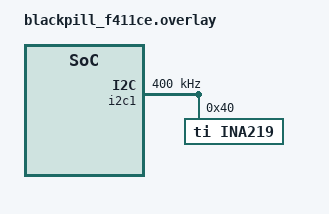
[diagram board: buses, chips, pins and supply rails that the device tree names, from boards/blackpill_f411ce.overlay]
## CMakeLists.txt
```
# SPDX-License-Identifier: Apache-2.0

cmake_minimum_required(VERSION 3.20.0)
find_package(Zephyr REQUIRED HINTS $ENV{ZEPHYR_BASE})
project(ina219)

FILE(GLOB app_sources src/*.c)
target_sources(app PRIVATE ${app_sources})
```

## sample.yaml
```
#
# Copyright (c) 2021 Leonard Pollak
#
# SPDX-License-Identifier: Apache-2.0


sample:
  name: TI INA219 power/current monitor
  description: Demonstration of the INA219 I2C power/current monitor
tests:
  sample.drivers.ina219:
    build_only: true
    platform_allow: blackpill_f411ce
    tags: sensors
```

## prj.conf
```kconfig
CONFIG_STDOUT_CONSOLE=y
CONFIG_CBPRINTF_FP_SUPPORT=y
CONFIG_I2C=y
CONFIG_SENSOR=y
```

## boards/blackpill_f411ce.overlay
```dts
/*
 * Copyright (c) 2021 Leonard Pollak
 *
 * SPDX-License-Identifier: Apache-2.0
 */

&i2c1 {
	status = "okay";
	compatible = "st,stm32-i2c-v1";
	clock-frequency = <I2C_BITRATE_FAST>;

	ina219@40 {
		status = "okay";
		compatible = "ti,ina219";
		reg = <0x40>;
		brng = <0>;
		pg = <0>;
		sadc = <13>;
		badc = <13>;
		shunt-milliohm = <100>;
		lsb-microamp = <10>;
	};
};
```

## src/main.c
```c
/*
 * Copyright (c) 2021 Leonard Pollak
 *
 * SPDX-License-Identifier: Apache-2.0
 */

#include <zephyr/kernel.h>
#include <stdio.h>
#include <zephyr/drivers/sensor.h>


int main(void)
{
	const struct device *const ina = DEVICE_DT_GET_ONE(ti_ina219);
	struct sensor_value v_bus, power, current;
	int rc;

	if (!device_is_ready(ina)) {
		printf("Device %s is not ready.\n", ina->name);
		return 0;
	}

	while (true) {
		rc = sensor_sample_fetch(ina);
		if (rc) {
			printf("Could not fetch sensor data.\n");
			return 0;
		}

		sensor_channel_get(ina, SENSOR_CHAN_VOLTAGE, &v_bus);
		sensor_channel_get(ina, SENSOR_CHAN_POWER, &power);
		sensor_channel_get(ina, SENSOR_CHAN_CURRENT, &current);

		printf("Bus: %f [V] -- "
			"Power: %f [W] -- "
			"Current: %f [A]\n",
		       sensor_value_to_double(&v_bus),
		       sensor_value_to_double(&power),
		       sensor_value_to_double(&current));
		k_sleep(K_MSEC(2000));
	}
	return 0;
}
```
